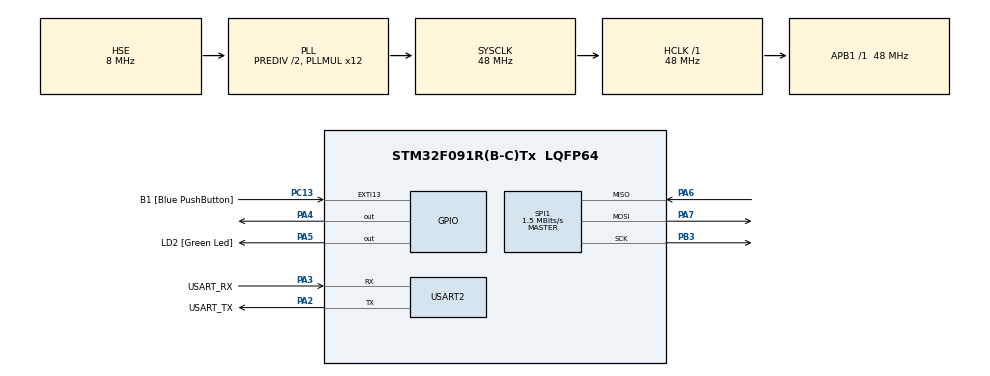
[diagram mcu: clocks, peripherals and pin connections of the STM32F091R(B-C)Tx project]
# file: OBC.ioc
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Mcu.Family=STM32F0
Mcu.Name=STM32F091R(B-C)Tx
Mcu.Package=LQFP64
PA13.GPIO_Label=TMS
PA13.Mode=Serial_Wire
PA13.Signal=SYS_SWDIO
PA14.GPIO_Label=TCK
PA14.Mode=Serial_Wire
PA14.Signal=SYS_SWCLK
PA2.GPIO_Label=USART_TX
PA2.GPIO_Mode=GPIO_MODE_AF_PP
PA2.GPIO_PuPd=GPIO_NOPULL
PA2.GPIO_Speed=GPIO_SPEED_FREQ_LOW
PA2.Mode=Asynchronous
PA2.Signal=USART2_TX
PA3.GPIO_Label=USART_RX
PA3.GPIO_Mode=GPIO_MODE_AF_PP
PA3.GPIO_PuPd=GPIO_NOPULL
PA3.GPIO_Speed=GPIO_SPEED_FREQ_LOW
PA3.Mode=Asynchronous
PA3.Signal=USART2_RX
PA4.Signal=GPIO_Output
PA5.GPIO_Label=LD2 [Green Led]
PA5.GPIO_Mode=GPIO_MODE_OUTPUT_PP
PA5.GPIO_PuPd=GPIO_NOPULL
PA5.GPIO_Speed=GPIO_SPEED_FREQ_LOW
PA5.Signal=GPIO_Output
PA6.Mode=Full_Duplex_Master
PA6.Signal=SPI1_MISO
PA7.Mode=Full_Duplex_Master
PA7.Signal=SPI1_MOSI
PB3.Mode=Full_Duplex_Master
PB3.Signal=SPI1_SCK
PC13.GPIO_Label=B1 [Blue PushButton]
PC13.GPIO_ModeDefaultEXTI=GPIO_MODE_IT_FALLING
PC13.Signal=GPXTI13
PC14OSC32_IN.Signal=RCC_OSC32_IN
PC15OSC32_OUT.Signal=RCC_OSC32_OUT
PF0-OSC_IN.Mode=HSE-External-Oscillator
PF0-OSC_IN.Signal=RCC_OSC_IN
PF1-OSC_OUT.Mode=HSE-External-Oscillator
PF1-OSC_OUT.Signal=RCC_OSC_OUT
ProjectManager.HeapSize=0x200
ProjectManager.StackSize=0x400
ProjectManager.TargetToolchain=STM32CubeIDE
RCC.AHBFreq_Value=48000000
RCC.APB1Freq_Value=48000000
RCC.APB1TimFreq_Value=48000000
RCC.FLatency-AdvancedSettings=FLASH_LATENCY_1
RCC.HCLKFreq_Value=48000000
RCC.PLLDivider=RCC_PREDIV_DIV2
RCC.PLLMUL=RCC_PLL_MUL12
RCC.PLLSourceVirtual=RCC_PLLSOURCE_HSE
RCC.PREFETCH_ENABLE-AdvancedSettings=1
RCC.SYSCLKFreq_VALUE=48000000
RCC.SYSCLKSource=RCC_SYSCLKSOURCE_PLLCLK
SPI1.BaudRatePrescaler=SPI_BAUDRATEPRESCALER_32
SPI1.CalculateBaudRate=1.5 MBits/s
SPI1.DataSize=SPI_DATASIZE_8BIT
SPI1.Direction=SPI_DIRECTION_2LINES
SPI1.Mode=SPI_MODE_MASTER
SPI1.NSSPMode=SPI_NSS_PULSE_DISABLE
SPI1.VirtualType=VM_MASTER
USART2.VirtualMode=VM_ASYNC
USART2.VirtualMode-Asynchronous=VM_ASYNC
board=NUCLEO-F091RC

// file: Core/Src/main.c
/* USER CODE BEGIN Header */
/**
  ******************************************************************************
  * @file           : main.c
  * @brief          : Main program body
  ******************************************************************************
  * @attention
  *
  * Copyright (c) 2022 STMicroelectronics.
  * All rights reserved.
  *
  * This software is licensed under terms that can be found in the LICENSE file
  * in the root directory of this software component.
  * If no LICENSE file comes with this software, it is provided AS-IS.
  *
  ******************************************************************************
  */
/* USER CODE END Header */
#include "main.h"

/* USER CODE BEGIN Includes */
#include "IntraSatComm.h"
#include "stdio.h"
/* USER CODE END Includes */

/* USER CODE BEGIN PM */
#define HEADER 0x4D555350
#define MINPKTLEN 11
/* USER CODE END PM */

SPI_HandleTypeDef hspi1;

UART_HandleTypeDef huart2;

/* USER CODE BEGIN PV */
uint8_t buffer_tx[15];
uint8_t buffer_rx[15];

/* USER CODE END PV */

void SystemClock_Config(void);
static void MX_GPIO_Init(void);
static void MX_USART2_UART_Init(void);
static void MX_SPI1_Init(void);

/* USER CODE BEGIN 0 */

void OBC_Transmit_Receive(){
	PacketInit();
	uint8_t arg[] = {1,2,3,4};
	uint8_t id,len,cmd;
	uint8_t argRet[4];

	PacketAssemble(0x11,0x01,arg,sizeof(arg),buffer_tx);

	HAL_GPIO_WritePin(GPIOA,GPIO_PIN_4,GPIO_PIN_RESET);
	if(HAL_SPI_Transmit(&hspi1,buffer_tx,15,100) != HAL_OK)
	{
		Error_Handler();
	}
	HAL_GPIO_WritePin(GPIOA,GPIO_PIN_4,GPIO_PIN_SET);
	HAL_Delay(100);
	HAL_GPIO_WritePin(GPIOA,GPIO_PIN_4,GPIO_PIN_RESET);
		if(HAL_SPI_Receive(&hspi1,buffer_rx,15,100) != HAL_OK)
		{
			Error_Handler();
		}
	HAL_GPIO_WritePin(GPIOA,GPIO_PIN_4,GPIO_PIN_SET);
	deframeReturn retVal = PacketDisassemble(&id,&len,&cmd,argRet,buffer_rx,sizeof(buffer_rx)); // disassemble packet from OBC
	if(retVal == DEFRAME_OK){
	printf("\nretVal is %d id is %x len is %d cmd is %x\n",retVal, id, len, cmd);
	for (int i = 0;i<len;i++){
	            printf("arg %d is %x\n",i, argRet[i]);
	       }
	 }else if (retVal == DEFRAME_INVALID_HEADER){
	        printf("Can't find header");
	 }else{
	        printf("CRC doesnt match");

	 }
}

/* USER CODE END 0 */

int main(void)
{

  /* MCU Configuration--------------------------------------------------------*/

  /* Reset of all peripherals, Initializes the Flash interface and the Systick. */
  HAL_Init();

  /* Configure the system clock */
  SystemClock_Config();

  /* Initialize all configured peripherals */
  MX_GPIO_Init();
  MX_USART2_UART_Init();
  MX_SPI1_Init();
  /* USER CODE BEGIN 2 */
  //HAL_GPIO_WritePin(GPIOA, GPIO_PIN_4, GPIO_PIN_SET);
  //OBC_Transmit();

  /* USER CODE END 2 */

  /* Infinite loop */
  while (1)
  {

    /* USER CODE BEGIN 3 */
	 // OBC_Receive();
	  //OBC_Transmit();
	  OBC_Transmit_Receive();

  }

  /* USER CODE END 3 */
}

void SystemClock_Config(void)
{
  RCC_OscInitTypeDef RCC_OscInitStruct = {0};
  RCC_ClkInitTypeDef RCC_ClkInitStruct = {0};
  RCC_PeriphCLKInitTypeDef PeriphClkInit = {0};

  /** Initializes the RCC Oscillators according to the specified parameters
  * in the RCC_OscInitTypeDef structure.
  */
  RCC_OscInitStruct.OscillatorType = RCC_OSCILLATORTYPE_HSE;
  RCC_OscInitStruct.HSEState = RCC_HSE_ON;
  RCC_OscInitStruct.PLL.PLLState = RCC_PLL_ON;
  RCC_OscInitStruct.PLL.PLLSource = RCC_PLLSOURCE_HSE;
  RCC_OscInitStruct.PLL.PLLMUL = RCC_PLL_MUL12;
  RCC_OscInitStruct.PLL.PREDIV = RCC_PREDIV_DIV2;
  if (HAL_RCC_OscConfig(&RCC_OscInitStruct) != HAL_OK)
  {
    Error_Handler();
  }
  /** Initializes the CPU, AHB and APB buses clocks
  */
  RCC_ClkInitStruct.ClockType = RCC_CLOCKTYPE_HCLK|RCC_CLOCKTYPE_SYSCLK
                              |RCC_CLOCKTYPE_PCLK1;
  RCC_ClkInitStruct.SYSCLKSource = RCC_SYSCLKSOURCE_PLLCLK;
  RCC_ClkInitStruct.AHBCLKDivider = RCC_SYSCLK_DIV1;
  RCC_ClkInitStruct.APB1CLKDivider = RCC_HCLK_DIV1;

  if (HAL_RCC_ClockConfig(&RCC_ClkInitStruct, FLASH_LATENCY_1) != HAL_OK)
  {
    Error_Handler();
  }
  PeriphClkInit.PeriphClockSelection = RCC_PERIPHCLK_USART2;
  PeriphClkInit.Usart2ClockSelection = RCC_USART2CLKSOURCE_PCLK1;
  if (HAL_RCCEx_PeriphCLKConfig(&PeriphClkInit) != HAL_OK)
  {
    Error_Handler();
  }
}

static void MX_SPI1_Init(void)
{

  /* SPI1 parameter configuration*/
  hspi1.Instance = SPI1;
  hspi1.Init.Mode = SPI_MODE_MASTER;
  hspi1.Init.Direction = SPI_DIRECTION_2LINES;
  hspi1.Init.DataSize = SPI_DATASIZE_8BIT;
  hspi1.Init.CLKPolarity = SPI_POLARITY_LOW;
  hspi1.Init.CLKPhase = SPI_PHASE_1EDGE;
  hspi1.Init.NSS = SPI_NSS_SOFT;
  hspi1.Init.BaudRatePrescaler = SPI_BAUDRATEPRESCALER_32;
  hspi1.Init.FirstBit = SPI_FIRSTBIT_MSB;
  hspi1.Init.TIMode = SPI_TIMODE_DISABLE;
  hspi1.Init.CRCCalculation = SPI_CRCCALCULATION_DISABLE;
  hspi1.Init.CRCPolynomial = 7;
  hspi1.Init.CRCLength = SPI_CRC_LENGTH_DATASIZE;
  hspi1.Init.NSSPMode = SPI_NSS_PULSE_DISABLE;
  if (HAL_SPI_Init(&hspi1) != HAL_OK)
  {
    Error_Handler();
  }

}

static void MX_USART2_UART_Init(void)
{

  huart2.Instance = USART2;
  huart2.Init.BaudRate = 115200;
  huart2.Init.WordLength = UART_WORDLENGTH_8B;
  huart2.Init.StopBits = UART_STOPBITS_1;
  huart2.Init.Parity = UART_PARITY_NONE;
  huart2.Init.Mode = UART_MODE_TX_RX;
  huart2.Init.HwFlowCtl = UART_HWCONTROL_NONE;
  huart2.Init.OverSampling = UART_OVERSAMPLING_16;
  huart2.Init.OneBitSampling = UART_ONE_BIT_SAMPLE_DISABLE;
  huart2.AdvancedInit.AdvFeatureInit = UART_ADVFEATURE_NO_INIT;
  if (HAL_UART_Init(&huart2) != HAL_OK)
  {
    Error_Handler();
  }

}

static void MX_GPIO_Init(void)
{
  GPIO_InitTypeDef GPIO_InitStruct = {0};

  /* GPIO Ports Clock Enable */
  __HAL_RCC_GPIOC_CLK_ENABLE();
  __HAL_RCC_GPIOF_CLK_ENABLE();
  __HAL_RCC_GPIOA_CLK_ENABLE();
  __HAL_RCC_GPIOB_CLK_ENABLE();

  /*Configure GPIO pin Output Level */
  HAL_GPIO_WritePin(GPIOA, GPIO_PIN_4|LD2_Pin, GPIO_PIN_RESET);

  /*Configure GPIO pin : B1_Pin */
  GPIO_InitStruct.Pin = B1_Pin;
  GPIO_InitStruct.Mode = GPIO_MODE_IT_FALLING;
  GPIO_InitStruct.Pull = GPIO_NOPULL;
  HAL_GPIO_Init(B1_GPIO_Port, &GPIO_InitStruct);

  /*Configure GPIO pins : PA4 LD2_Pin */
  GPIO_InitStruct.Pin = GPIO_PIN_4|LD2_Pin;
  GPIO_InitStruct.Mode = GPIO_MODE_OUTPUT_PP;
  GPIO_InitStruct.Pull = GPIO_NOPULL;
  GPIO_InitStruct.Speed = GPIO_SPEED_FREQ_LOW;
  HAL_GPIO_Init(GPIOA, &GPIO_InitStruct);

}

void Error_Handler(void)
{
  __disable_irq();
  while (1)
  {
  }
}
